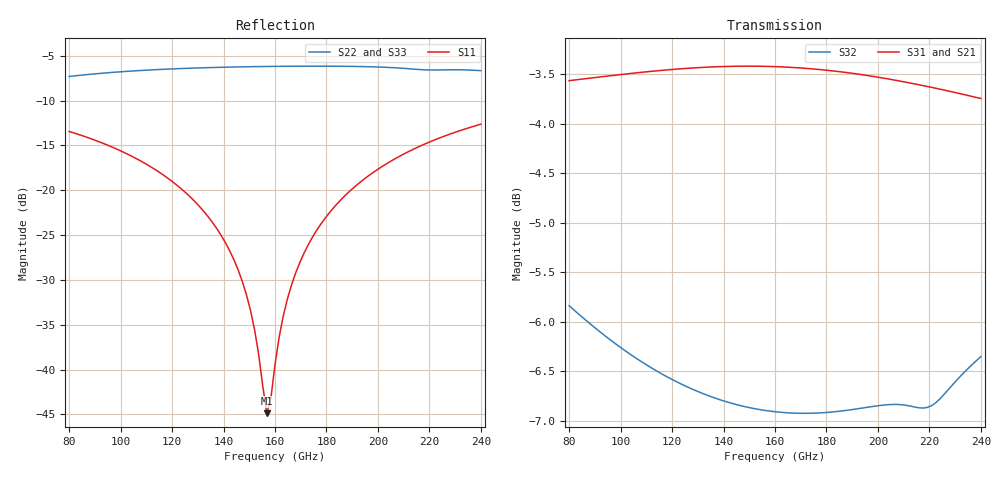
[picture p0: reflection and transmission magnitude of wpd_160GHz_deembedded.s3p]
! Created with skrf 2.2.0 (http://scikit-rf.org).
# GHz S DB R 50.0
! Port[1] = P1
! Port[2] = P2
! Port[3] = P3
!freq dBS11 angS11 dBS12 angS12 dBS13 angS13
! dBS21 angS21 dBS22 angS22 dBS23 angS23
! dBS31 angS31 dBS32 angS32 dBS33 angS33
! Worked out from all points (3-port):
!   101 points, 80 GHz to 240 GHz, reference 50 ohm
!   strongest paths, dB at 80 GHz, 120 GHz, 160 GHz, 200 GHz, 240 GHz:
!     S31: -3.6, -3.5, -3.4, -3.5, -3.7
!     S21: -3.6, -3.5, -3.4, -3.5, -3.7
!     S32: -5.8, -6.6, -6.9, -6.8, -6.4
!   lowest |S11| = -44.9 dB at 156.8 GHz (marker M1), VSWR 1.01, Z = 50.6 + j0.154 ohm
!   |S11| at or under -10 dB: start of sweep to end of sweep
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80  -13.45 135.9  -3.57 -43.5  -3.56 -43.4
    -3.57 -43.5  -7.32 51.0  -5.84 -97.3
    -3.56 -43.4  -5.84 -97.3  -7.34 50.9
113.6  -17.73 117.0  -3.48 -62.3  -3.47 -62.3
       -3.48 -62.3  -6.56 24.3  -6.49 -132.3
       -3.47 -62.3  -6.49 -132.3  -6.59 24.3
136  -23.71 102.3  -3.44 -75.2  -3.42 -75.1
     -3.44 -75.2  -6.32 9.7  -6.76 -154.9
     -3.42 -75.1  -6.76 -154.9  -6.34 9.7
148.8  -31.56 88.0  -3.43 -82.6  -3.42 -82.6
       -3.43 -82.6  -6.24 2.0  -6.86 -167.7
       -3.42 -82.6  -6.86 -167.7  -6.26 2.0
156.8  -44.89 15.5  -3.43 -87.2  -3.42 -87.2
       -3.43 -87.2  -6.20 -2.7  -6.90 -175.7
       -3.42 -87.2  -6.90 -175.7  -6.23 -2.7
160  -39.46 -54.0  -3.43 -89.1  -3.42 -89.1
     -3.43 -89.1  -6.19 -4.5  -6.91 -178.9
     -3.42 -89.1  -6.91 -178.9  -6.22 -4.6
168  -29.25 -80.9  -3.44 -93.7  -3.43 -93.8
     -3.44 -93.7  -6.18 -9.2  -6.92 173.1
     -3.43 -93.8  -6.92 173.1  -6.20 -9.2
182.4  -22.08 -94.1  -3.48 -102.1  -3.46 -102.1
       -3.48 -102.1  -6.18 -17.6  -6.91 158.7
       -3.46 -102.1  -6.91 158.7  -6.19 -17.6
206.4  -16.54 -109.1  -3.57 -115.9  -3.56 -116.0
       -3.57 -115.9  -6.34 -32.3  -6.83 134.1
       -3.56 -116.0  -6.83 134.1  -6.36 -32.4
240  -12.64 -127.8  -3.75 -134.9  -3.74 -135.0
     -3.75 -134.9  -6.67 -53.8  -6.35 101.1
     -3.74 -135.0  -6.35 101.1  -6.67 -53.9
